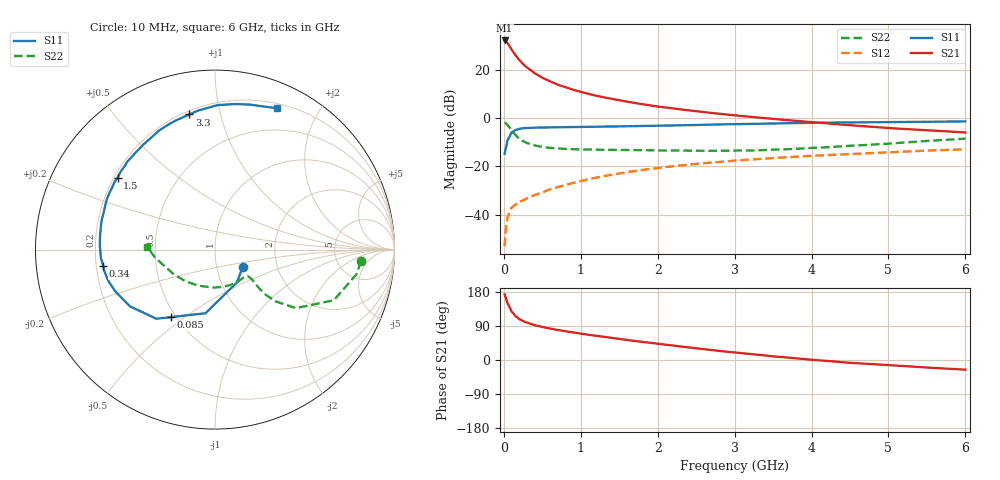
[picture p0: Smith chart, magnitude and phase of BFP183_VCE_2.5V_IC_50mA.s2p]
! Infineon Technologies  Discrete & RF Semiconductors
! BFP183
! VCE = 2.5 V,  IC =  50 mA
! Common Emitter S-Parameters:  Jan 2016
# GHz  S  MA  R  50
!  f  S11  S21  S12  S22
! GHz  MAG  ANG  MAG  ANG  MAG  ANG  MAG  ANG
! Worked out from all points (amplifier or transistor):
!   210 points, 10 MHz to 6 GHz, reference 50 ohm
!   highest |S21| = 32.3 dB at 10 MHz (marker M1)
!   |S21| within 3 dB of that: start of sweep to 84.91 MHz
!   unconditionally stable (mu >= 1): start of sweep to 22.66 MHz; 266.9 MHz to end of sweep
!   at 185 MHz: K = 0.81, MSG = 30.0 dB, |S12| = -35.1 dB
!   at 1.52 GHz: K = 1.48, MAG = 11.0 dB, |S12| = -22.8 dB
!   at 6 GHz: K = 1.13, MAG = 1.3 dB, |S12| = -12.9 dB
!   S11 on the Smith chart (normalised r, x): 10 MHz: 1.34, -0.27; 85 MHz: 0.47, -0.45; 340 MHz: 0.23, -0.07; 1.5 GHz: 0.21, +0.32; 3.3 GHz: 0.22, +0.80; 6 GHz: 0.25, +1.50
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0.01  0.1827 -31.8  41.23 173.1  0.0022 65.6  0.8151 -4.6
0.02  0.2202 -56.6  40.7 166.6  0.0039 67.6  0.801 -9.8
0.05  0.3587 -98.5  36.12 148.4  0.0089 67.0  0.7195 -23.1
0.085  0.4487 -123.0  29.17 135.4  0.0123 56.2  0.6025 -31.3
0.1  0.5052 -130.3  26.81 128.0  0.0138 53.2  0.5572 -35.8
0.15  0.5695 -146.3  20.48 115.8  0.0161 49.4  0.4467 -40.4
0.2  0.6009 -156.8  16.24 107.9  0.0183 49.9  0.3785 -41.7
0.26  0.6211 -164.6  12.92 101.7  0.0199 50.0  0.3285 -41.3
0.3  0.6274 -168.7  11.33 98.4  0.0216 52.2  0.3053 -40.5
0.34  0.6302 -171.7  10.23 96.2  0.0231 53.3  0.2918 -40.0
0.4  0.6376 -176.1  8.622 91.9  0.0254 54.6  0.2715 -39.2
0.5  0.6419 178.0  6.914 87.1  0.0286 56.0  0.2522 -38.7
0.6  0.6451 173.3  5.839 82.9  0.0334 58.3  0.2419 -38.6
0.8  0.6524 165.4  4.394 75.8  0.041 60.4  0.231 -40.0
1.02  0.6606 157.3  3.452 69.0  0.0503 61.1  0.2238 -43.2
1.5  0.675 143.5  2.357 55.5  0.0714 59.0  0.2189 -52.9
2.02  0.699 128.8  1.732 42.3  0.0934 55.1  0.2152 -66.6
3.1  0.7562 104.5  1.11 18.0  0.1347 44.5  0.2121 -102.0
3.3  0.7664 100.7  1.035 14.1  0.1417 42.5  0.2155 -109.2
4.1  0.8069 87.6  0.807 -0.8  0.1684 34.5  0.2452 -136.6
5.1  0.8332 75.1  0.611 -14.8  0.1981 25.8  0.3038 -164.2
6  0.8601 66.4  0.506 -25.5  0.2259 16.5  0.377 177.7
